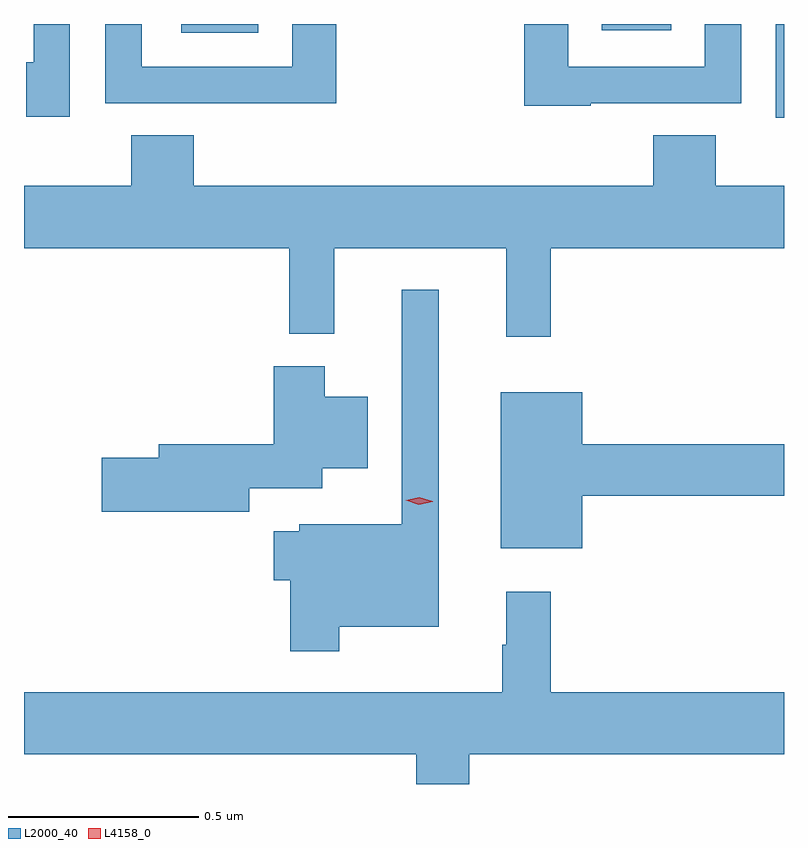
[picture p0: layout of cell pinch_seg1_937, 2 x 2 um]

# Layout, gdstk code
import gdstk
lib = gdstk.Library(unit=1e-6, precision=1e-09)
def R(c, l, rs):  # rectangles x0, y0, x1, y1
    for r in rs: c.add(gdstk.rectangle(r[:2], r[2:], *l))
def P(c, l, *ps):  # polygons
    for p in ps: c.add(gdstk.Polygon(p, *l))
L2000_40 = (2000, 40)
L4158_0 = (4158, 0)

pinch_seg1_937 = lib.new_cell('pinch_seg1_937')
R(pinch_seg1_937, L2000_40, [(312.075,529.431,312.097,529.678), (310.511,529.655,310.714,529.678), (311.618,529.661,311.8,529.678)])
P(pinch_seg1_937, L2000_40, [(310.919,529.678),(310.803,529.678),(310.803,529.566),(310.407,529.566),(310.407,529.678),(310.311,529.678),(310.311,529.47),(310.627,529.47),(310.627,529.469),(310.919,529.469)],
  [(311.589,529.47),(311.985,529.47),(311.985,529.678),(311.889,529.678),(311.889,529.566),(311.529,529.566),(311.529,529.678),(311.413,529.678),(311.413,529.463),(311.589,529.463)],
  [(310.218,529.678),(310.122,529.678),(310.122,529.578),(310.103,529.578),(310.103,529.434),(310.218,529.434)],
  [(311.483,529.088),(312.097,529.088),(312.097,529.252),(311.918,529.252),(311.918,529.385),(311.753,529.385),(311.753,529.252),(310.544,529.252),(310.544,529.385),(310.379,529.385),(310.379,529.252),(310.097,529.252),(310.097,529.088),(310.795,529.088),(310.795,528.863),(310.913,528.863),(310.913,529.088),(311.366,529.088),(311.366,528.855),(311.483,528.855)],
  [(310.927,528.092),(311.188,528.092),(311.188,528.979),(311.091,528.979),(311.091,528.361),(310.821,528.361),(310.821,528.343),(310.754,528.343),(310.754,528.214),(310.798,528.214),(310.798,528.027),(310.927,528.027)],
  [(310.69,528.456),(310.882,528.456),(310.882,528.509),(311.002,528.509),(311.002,528.697),(310.888,528.697),(310.888,528.778),(310.754,528.778),(310.754,528.572),(310.451,528.572),(310.451,528.536),(310.302,528.536),(310.302,528.394),(310.69,528.394)],
  [(311.566,528.436),(312.097,528.436),(312.097,528.572),(311.566,528.572),(311.566,528.709),(311.351,528.709),(311.351,528.299),(311.566,528.299)],
  [(311.269,527.756),(312.097,527.756),(312.097,527.92),(311.483,527.92),(311.483,528.184),(311.366,528.184),(311.366,528.044),(311.355,528.044),(311.355,527.92),(310.097,527.92),(310.097,527.756),(311.129,527.756),(311.129,527.678),(311.269,527.678)])
P(pinch_seg1_937, L4158_0, [(311.136,528.413),(311.101,528.425),(311.101,528.425),(311.101,528.425),(311.137,528.433),(311.172,528.422),(311.173,528.422),(311.172,528.421)])

lib.write_gds('pinch_seg1_937.gds')
